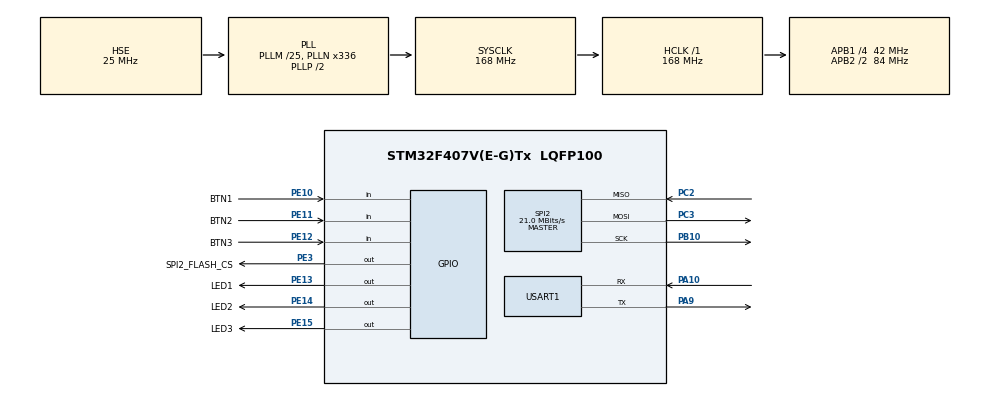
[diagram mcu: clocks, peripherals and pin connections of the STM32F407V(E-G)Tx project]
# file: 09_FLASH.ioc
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Mcu.Family=STM32F4
Mcu.Name=STM32F407V(E-G)Tx
Mcu.Package=LQFP100
NVIC.PriorityGroup=NVIC_PRIORITYGROUP_4
NVIC.USART1_IRQn=true\:0\:0\:false\:false\:true\:true\:true\:true
PA10.Mode=Asynchronous
PA10.Signal=USART1_RX
PA13.Mode=JTAG_5_pins
PA13.Signal=SYS_JTMS-SWDIO
PA14.Mode=JTAG_5_pins
PA14.Signal=SYS_JTCK-SWCLK
PA15.Mode=JTAG_5_pins
PA15.Signal=SYS_JTDI
PA9.Mode=Asynchronous
PA9.Signal=USART1_TX
PB10.Mode=Full_Duplex_Master
PB10.Signal=SPI2_SCK
PB3.Mode=JTAG_5_pins
PB3.Signal=SYS_JTDO-SWO
PB4.Mode=JTAG_5_pins
PB4.Signal=SYS_JTRST
PC14-OSC32_IN.Mode=LSE-External-Oscillator
PC14-OSC32_IN.Signal=RCC_OSC32_IN
PC15-OSC32_OUT.Mode=LSE-External-Oscillator
PC15-OSC32_OUT.Signal=RCC_OSC32_OUT
PC2.Mode=Full_Duplex_Master
PC2.Signal=SPI2_MISO
PC3.Mode=Full_Duplex_Master
PC3.Signal=SPI2_MOSI
PE10.GPIO_Label=BTN1
PE10.Signal=GPIO_Input
PE11.GPIO_Label=BTN2
PE11.Signal=GPIO_Input
PE12.GPIO_Label=BTN3
PE12.Signal=GPIO_Input
PE13.GPIO_Label=LED1
PE13.PinState=GPIO_PIN_SET
PE13.Signal=GPIO_Output
PE14.GPIO_Label=LED2
PE14.PinState=GPIO_PIN_SET
PE14.Signal=GPIO_Output
PE15.GPIO_Label=LED3
PE15.PinState=GPIO_PIN_SET
PE15.Signal=GPIO_Output
PE3.GPIO_Label=SPI2_FLASH_CS
PE3.PinState=GPIO_PIN_SET
PE3.Signal=GPIO_Output
PH0-OSC_IN.Mode=HSE-External-Oscillator
PH0-OSC_IN.Signal=RCC_OSC_IN
PH1-OSC_OUT.Mode=HSE-External-Oscillator
PH1-OSC_OUT.Signal=RCC_OSC_OUT
ProjectManager.HeapSize=0x200
ProjectManager.StackSize=0x400
ProjectManager.TargetToolchain=STM32CubeIDE
RCC.48MHZClocksFreq_Value=84000000
RCC.AHBFreq_Value=168000000
RCC.APB1CLKDivider=RCC_HCLK_DIV4
RCC.APB1Freq_Value=42000000
RCC.APB1TimFreq_Value=84000000
RCC.APB2CLKDivider=RCC_HCLK_DIV2
RCC.APB2Freq_Value=84000000
RCC.APB2TimFreq_Value=168000000
RCC.CortexFreq_Value=168000000
RCC.HCLKFreq_Value=168000000
RCC.HSE_VALUE=25000000
RCC.HSI_VALUE=16000000
RCC.PLLM=25
RCC.PLLN=336
RCC.PLLSourceVirtual=RCC_PLLSOURCE_HSE
RCC.SYSCLKFreq_VALUE=168000000
RCC.SYSCLKSource=RCC_SYSCLKSOURCE_PLLCLK
RCC.VCOOutputFreq_Value=336000000
SPI2.CalculateBaudRate=21.0 MBits/s
SPI2.Direction=SPI_DIRECTION_2LINES
SPI2.Mode=SPI_MODE_MASTER
SPI2.VirtualType=VM_MASTER
USART1.VirtualMode=VM_ASYNC
board=custom

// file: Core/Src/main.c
/* USER CODE BEGIN Header */
/**
  ******************************************************************************
  * @file           : main.c
  * @brief          : Main program body
  ******************************************************************************
  * @attention
  *
  * Copyright (c) 2025 STMicroelectronics.
  * All rights reserved.
  *
  * This software is licensed under terms that can be found in the LICENSE file
  * in the root directory of this software component.
  * If no LICENSE file comes with this software, it is provided AS-IS.
  *
  ******************************************************************************
  */
/* USER CODE END Header */
#include "main.h"
#include "spi.h"
#include "usart.h"
#include "gpio.h"

/* USER CODE BEGIN Includes */
#include <stdio.h>
/* USER CODE END Includes */

/* USER CODE BEGIN PD */
#define FLASH_CS_LOW()  HAL_GPIO_WritePin(GPIOE, GPIO_PIN_3, GPIO_PIN_RESET)
#define FLASH_CS_HIGH() HAL_GPIO_WritePin(GPIOE, GPIO_PIN_3, GPIO_PIN_SET)
/* USER CODE END PD */

/* USER CODE BEGIN PV */
extern UART_HandleTypeDef huart1;
extern SPI_HandleTypeDef hspi2;
/* USER CODE END PV */

void SystemClock_Config(void);

/* USER CODE BEGIN 0 */
int __io_putchar(int ch)
{
  if(HAL_UART_Transmit(&huart1, (uint8_t *)&ch, 1, 10) != HAL_OK)
  {
    return -1;
  }
  return ch;
}

uint8_t rxbuf;
void HAL_UART_RxCpltCallback(UART_HandleTypeDef *huart)
{
  if (huart->Instance == USART1)
  {
    // to UART1
    HAL_UART_Transmit(huart, (uint8_t *)&rxbuf, 1, 10);
    HAL_UART_Receive_IT(huart, &rxbuf, 1);
  }
}

// 데이터 전송
uint8_t SPI_TransmitReceive(uint8_t data) {
    uint8_t receivedData = 0;
    HAL_SPI_TransmitReceive(&hspi2, &data, &receivedData, 1, HAL_MAX_DELAY);
    return receivedData;
}

// W25Q128 JEDEC ID 읽기
void W25Q128_ReadID(void) {
    uint8_t cmd = 0x9F;
    uint8_t id[3] = {0};

    FLASH_CS_LOW();
    SPI_TransmitReceive(cmd);
    id[0] = SPI_TransmitReceive(0x00);
    id[1] = SPI_TransmitReceive(0x00);
    id[2] = SPI_TransmitReceive(0x00);
    FLASH_CS_HIGH();

    printf("\nManufacturer ID: 0x%X, Memory Type: 0x%X, Capacity: 0x%X\n", id[0], id[1], id[2]);
}

// W25Q128 페이지 프로그램
void W25Q128_WriteData(uint32_t address, uint8_t *data, uint16_t size) {
    uint8_t cmd[4];

    // 쓰기 활성화 명령
    FLASH_CS_LOW();
    SPI_TransmitReceive(0x06);
    FLASH_CS_HIGH();

    // 페이지 프로그램 명령
    cmd[0] = 0x02;
    cmd[1] = (address >> 16) & 0xFF;
    cmd[2] = (address >> 8) & 0xFF;
    cmd[3] = address & 0xFF;

    FLASH_CS_LOW();
    HAL_SPI_Transmit(&hspi2, cmd, 4, HAL_MAX_DELAY);
    HAL_SPI_Transmit(&hspi2, data, size, HAL_MAX_DELAY);
    FLASH_CS_HIGH();
}

// W25Q128 데이터 읽기
void W25Q128_ReadData(uint32_t address, uint8_t *buffer, uint16_t size) {
    uint8_t cmd[4];

    // 빠른 읽기 명령
    cmd[0] = 0x0B;
    cmd[1] = (address >> 16) & 0xFF;
    cmd[2] = (address >> 8) & 0xFF;
    cmd[3] = address & 0xFF;

    FLASH_CS_LOW();
    HAL_SPI_Transmit(&hspi2, cmd, 4, HAL_MAX_DELAY);
    HAL_SPI_Transmit(&hspi2, (uint8_t[]){0x00}, 1, HAL_MAX_DELAY); // 더미 바이트
    HAL_SPI_Receive(&hspi2, buffer, size, HAL_MAX_DELAY);
    FLASH_CS_HIGH();
}
/* USER CODE END 0 */

int main(void)
{

  /* MCU Configuration--------------------------------------------------------*/

  /* Reset of all peripherals, Initializes the Flash interface and the Systick. */
  HAL_Init();

  /* Configure the system clock */
  SystemClock_Config();

  /* Initialize all configured peripherals */
  MX_GPIO_Init();
  MX_USART1_UART_Init();
  MX_SPI2_Init();

  /* USER CODE BEGIN 2 */
  FLASH_CS_HIGH();

  uint8_t writeData[16] = "Hello, W25Q128!";
  uint8_t readData[16] = {0};

  // JEDEC ID 읽기
  W25Q128_ReadID();

  // 데이터 쓰기
  W25Q128_WriteData(0x000000, writeData, sizeof(writeData));
  HAL_Delay(50); // 쓰기 완료 대기

  // 데이터 읽기
  W25Q128_ReadData(0x000000, readData, sizeof(readData));

  // 읽은 데이터 출력
  printf("Read Data: %s\n", readData);
  /* USER CODE END 2 */

  /* Infinite loop */
  while (1)
  {

  }
}

void SystemClock_Config(void)
{
  RCC_OscInitTypeDef RCC_OscInitStruct = {0};
  RCC_ClkInitTypeDef RCC_ClkInitStruct = {0};

  /** Configure the main internal regulator output voltage
  */
  __HAL_RCC_PWR_CLK_ENABLE();
  __HAL_PWR_VOLTAGESCALING_CONFIG(PWR_REGULATOR_VOLTAGE_SCALE1);

  /** Initializes the RCC Oscillators according to the specified parameters
  * in the RCC_OscInitTypeDef structure.
  */
  RCC_OscInitStruct.OscillatorType = RCC_OSCILLATORTYPE_HSE;
  RCC_OscInitStruct.HSEState = RCC_HSE_ON;
  RCC_OscInitStruct.PLL.PLLState = RCC_PLL_ON;
  RCC_OscInitStruct.PLL.PLLSource = RCC_PLLSOURCE_HSE;
  RCC_OscInitStruct.PLL.PLLM = 25;
  RCC_OscInitStruct.PLL.PLLN = 336;
  RCC_OscInitStruct.PLL.PLLP = RCC_PLLP_DIV2;
  RCC_OscInitStruct.PLL.PLLQ = 4;
  if (HAL_RCC_OscConfig(&RCC_OscInitStruct) != HAL_OK)
  {
    Error_Handler();
  }

  /** Initializes the CPU, AHB and APB buses clocks
  */
  RCC_ClkInitStruct.ClockType = RCC_CLOCKTYPE_HCLK|RCC_CLOCKTYPE_SYSCLK
                              |RCC_CLOCKTYPE_PCLK1|RCC_CLOCKTYPE_PCLK2;
  RCC_ClkInitStruct.SYSCLKSource = RCC_SYSCLKSOURCE_PLLCLK;
  RCC_ClkInitStruct.AHBCLKDivider = RCC_SYSCLK_DIV1;
  RCC_ClkInitStruct.APB1CLKDivider = RCC_HCLK_DIV4;
  RCC_ClkInitStruct.APB2CLKDivider = RCC_HCLK_DIV2;

  if (HAL_RCC_ClockConfig(&RCC_ClkInitStruct, FLASH_LATENCY_5) != HAL_OK)
  {
    Error_Handler();
  }
}

void Error_Handler(void)
{
  __disable_irq();
  while (1)
  {
  }
}
